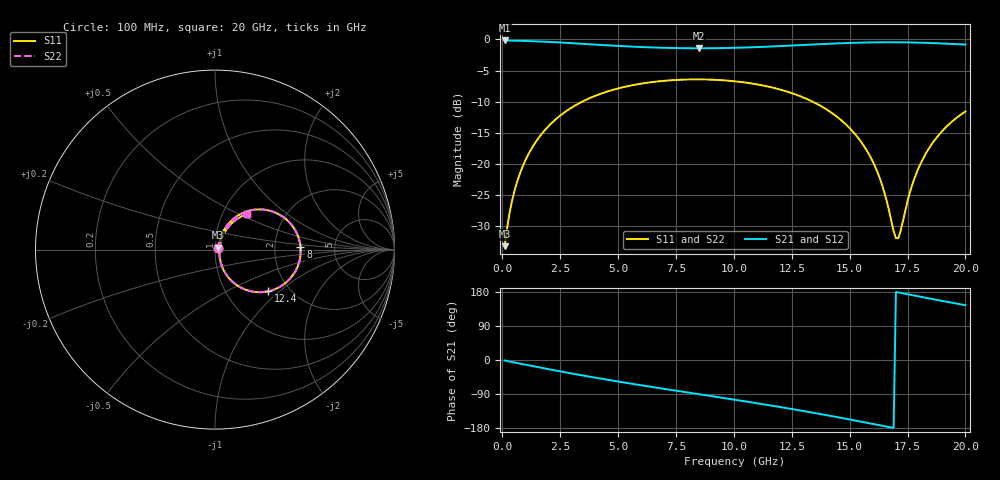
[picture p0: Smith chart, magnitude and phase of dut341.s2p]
! Touchstone file exported from HFSS 2026.1.0
!  File:  C:/ffzhzh/LocalFiles/Ansys_Project_Files/temp_train_TSV_RDL_341_1783034878_4048.aedt
!  Generated:  07:41:20 AM Jul  3, 2026
!  Design:  TSV_RDL
!  Project:  temp_train_TSV_RDL_341_1783034878_4048
! Variables:
!  h_bsmrdl = 4.03um
!  h_ox = 20um
!  h_rdl = 5um
!  h_sub = 83.18um
!  h_tmrdl = 3.32um
!  h_tsv = 83.18um
!  h_via = 3um
!  l_bsmrdl = 682.84um
!  l_sub = 3514.79um
!  l_tmrdl = 235.84um
!  m_sub = 200um
!  pitch = 38.19um
!  r_tsv = 4.39um
!  s_tmrdl = 10um
!  w_bsmrdl = 18.04um
!  w_sub = 500um
!  w_tmrdl = 22.93um
!  x_tsv_center1 = 247.305um
!  x_tsv_center2 = 948.185um
!  x_tsv_center3 = 1206.955um
!  x_tsv_center4 = 1907.835um
!  x_tsv_center5 = 2166.605um
!  x_tsv_center6 = 2867.485um
# GHz S MA R 50.000000
! Terminal data exported
! Port[1] = TM_RDL1_1_T1
! Port[2] = TM_RDL5_1_T1
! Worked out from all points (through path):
!   200 points, 100 MHz to 20 GHz, reference 50 ohm
!   highest |S21| = -0.16 dB at 100 MHz (marker M1); lowest = -1.4 dB at 8.5 GHz (marker M2)
!   group delay of S21, straight-line fit = 28.9 ps
!   lowest |S11| = -33.2 dB at 100 MHz (marker M3), VSWR 1.04, Z = 51.9 + j1.16 ohm
!   |S11| at or under -10 dB: start of sweep to 3.452 GHz; 13.4 GHz to end of sweep
!   |S22| runs from -33.2 to -6.4 dB; largest |S21 - S12| = 3.3e-14
!   S11 on the Smith chart (normalised r, x): 100 MHz: 1.04, +0.02; 8 GHz: 2.81, +0.12; 12.4 GHz: 1.56, -0.84; 20 GHz: 1.30, +0.55
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0.1  0.02179 30.8  0.9815 -1.3  0.9815 -1.3  0.02179 30.8
! Gamma 0 0 0 0
! Port Impedance 50 0 50 0
0.3  0.03896 55.5  0.9795 -3.8  0.9795 -3.8  0.03896 55.5
0.5  0.05813 62.6  0.9775 -6.3  0.9775 -6.3  0.05813 62.6
1.2  0.1265 65.0  0.9695 -14.7  0.9695 -14.7  0.1265 65.0
2.2  0.2188 57.2  0.9518 -26.5  0.9518 -26.5  0.2188 57.2
3.5  0.3195 44.3  0.9216 -41.1  0.9216 -41.1  0.3195 44.3
6.8  0.4616 12.7  0.8584 -74.4  0.8584 -74.4  0.4616 12.7
8  0.4765 1.9  0.8499 -85.6  0.8499 -85.6  0.4765 1.9
8.5  0.4775 -2.5  0.8491 -90.3  0.8491 -90.3  0.4774 -2.5
10.1  0.4597 -16.9  0.8571 -105.4  0.8571 -105.4  0.4597 -16.9
12.4  0.3757 -38.3  0.8913 -128.3  0.8913 -128.3  0.3757 -38.3
13.4  0.3163 -47.8  0.9103 -138.9  0.9103 -138.9  0.3163 -47.9
14.6  0.2272 -59.0  0.9315 -152.3  0.9315 -152.3  0.2272 -59.1
15.5  0.1498 -65.9  0.9432 -162.7  0.9432 -162.7  0.1498 -66.0
16.2  0.086 -66.7  0.9484 -171.0  0.9484 -171.0  0.0859 -66.9
16.7  0.04222 -53.3  0.9496 -177.0  0.9496 -177.0  0.04204 -53.6
17  0.0253 -14.2  0.9493 179.5  0.9493 179.5  0.02502 -14.2
17.1  0.02524 6.9  0.949 178.3  0.949 178.3  0.02497 7.0
17.7  0.06742 57.6  0.9455 171.1  0.9455 171.1  0.06733 57.9
18.2  0.1127 60.8  0.9403 165.2  0.9403 165.2  0.1127 60.9
19  0.1835 56.7  0.9283 155.9  0.9283 155.9  0.1835 56.8
20  0.2637 48.2  0.9089 144.6  0.9089 144.6  0.2637 48.2
